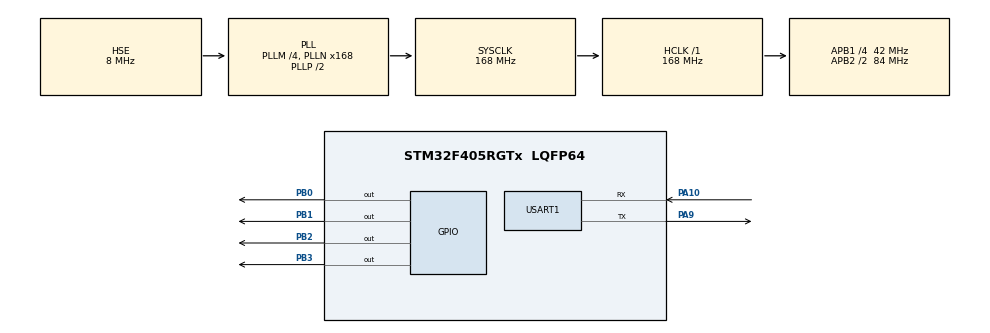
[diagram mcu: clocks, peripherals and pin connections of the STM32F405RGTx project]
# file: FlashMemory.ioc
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Mcu.Family=STM32F4
Mcu.Name=STM32F405RGTx
Mcu.Package=LQFP64
NVIC.PriorityGroup=NVIC_PRIORITYGROUP_4
PA10.GPIO_PuPd=GPIO_PULLUP
PA10.Mode=Asynchronous
PA10.Signal=USART1_RX
PA13.Mode=Serial_Wire
PA13.Signal=SYS_JTMS-SWDIO
PA14.Mode=Serial_Wire
PA14.Signal=SYS_JTCK-SWCLK
PA9.GPIO_PuPd=GPIO_PULLUP
PA9.Mode=Asynchronous
PA9.Signal=USART1_TX
PB0.GPIO_PuPd=GPIO_PULLUP
PB0.Signal=GPIO_Output
PB1.GPIO_PuPd=GPIO_PULLUP
PB1.Signal=GPIO_Output
PB2.GPIO_PuPd=GPIO_PULLUP
PB2.Signal=GPIO_Output
PB3.GPIO_PuPd=GPIO_PULLUP
PB3.Signal=GPIO_Output
PH0-OSC_IN.Mode=HSE-External-Oscillator
PH0-OSC_IN.Signal=RCC_OSC_IN
PH1-OSC_OUT.Mode=HSE-External-Oscillator
PH1-OSC_OUT.Signal=RCC_OSC_OUT
ProjectManager.HeapSize=0x200
ProjectManager.StackSize=0x400
ProjectManager.TargetToolchain=STM32CubeIDE
RCC.48MHZClocksFreq_Value=84000000
RCC.AHBFreq_Value=168000000
RCC.APB1CLKDivider=RCC_HCLK_DIV4
RCC.APB1Freq_Value=42000000
RCC.APB1TimFreq_Value=84000000
RCC.APB2CLKDivider=RCC_HCLK_DIV2
RCC.APB2Freq_Value=84000000
RCC.APB2TimFreq_Value=168000000
RCC.CortexFreq_Value=168000000
RCC.HCLKFreq_Value=168000000
RCC.HSE_VALUE=8000000
RCC.HSI_VALUE=16000000
RCC.LSE_VALUE=32768
RCC.PLLM=4
RCC.PLLN=168
RCC.PLLSourceVirtual=RCC_PLLSOURCE_HSE
RCC.SYSCLKFreq_VALUE=168000000
RCC.SYSCLKSource=RCC_SYSCLKSOURCE_PLLCLK
RCC.VCOOutputFreq_Value=336000000
USART1.VirtualMode=VM_ASYNC
board=custom

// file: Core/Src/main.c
/* USER CODE BEGIN Header */
/**
  ******************************************************************************
  * @file           : main.c
  * @brief          : Main program body
  ******************************************************************************
  * @attention
  *
  * Copyright (c) 2022 STMicroelectronics.
  * All rights reserved.
  *
  * This software is licensed under terms that can be found in the LICENSE file
  * in the root directory of this software component.
  * If no LICENSE file comes with this software, it is provided AS-IS.
  *
  ******************************************************************************
  */
/* USER CODE END Header */
#include "main.h"

/* USER CODE BEGIN Includes */
#include "stdio.h"
#include "string.h"
#include "stdbool.h"
#include <FLASH_SECTOR_F4.h>
/* USER CODE END Includes */

/* USER CODE BEGIN PD */
#define START_ADDR 0x080E0000
// FLASH_SECTOR_11 (Address < 0x080FFFFF) && (Address >= 0x080E0000)
/* USER CODE END PD */

UART_HandleTypeDef huart1;

void SystemClock_Config(void);
static void MX_GPIO_Init(void);
static void MX_USART1_UART_Init(void);
/* USER CODE BEGIN PFP */
#ifdef __GNUC__
/* With GCC/RAISONANCE, small printf (option LD Linker->Libraries->Small printf
 set to 'Yes') calls __io_putchar() */
#define PUTCHAR_PROTOTYPE int __io_putchar(int ch)
#else
 #define PUTCHAR_PROTOTYPE int fputc(int ch, FILE *f)
#endif /* __GNUC__ */
/* USER CODE END PFP */

int main(void)
{

  /* MCU Configuration--------------------------------------------------------*/

  /* Reset of all peripherals, Initializes the Flash interface and the Systick. */
  HAL_Init();

  /* Configure the system clock */
  SystemClock_Config();

  /* Initialize all configured peripherals */
  MX_GPIO_Init();
  MX_USART1_UART_Init();
  /* USER CODE BEGIN 2 */
  char *data = "Hello, We are access Flash Memory in the course CE437";
  int numofwords = (strlen(data)/4) + ((strlen(data)%4)!=0);

  uint32_t Rx_Data[30];
  uint32_t CURRENT_ADDR;
  char string[100];

  /* USER CODE END 2 */

  /* Infinite loop */
  while (1)
  {

    /* USER CODE BEGIN 3 */

	  // current address (FLASH_SECTOR_11) to write
	  CURRENT_ADDR = START_ADDR;

	  printf("Begin to write into the flash memory\r\n");
	  HAL_GPIO_WritePin(GPIOB, GPIO_PIN_0, GPIO_PIN_SET);
	  // write 100 times
	  for(int count=0;count<2; count++)
	  {
		  printf("Write at address %08lx in line of %d\r\n", CURRENT_ADDR, count+1);
		  HAL_GPIO_WritePin(GPIOB, GPIO_PIN_1, GPIO_PIN_SET);

		  Flash_Write_Data(CURRENT_ADDR, (uint32_t *)data, numofwords);
		  CURRENT_ADDR = CURRENT_ADDR + (numofwords*4);

		  HAL_GPIO_WritePin(GPIOB, GPIO_PIN_1, GPIO_PIN_RESET);
		  HAL_Delay(100);
	  }
	  printf("Finish writing!\r\n");
	  HAL_GPIO_WritePin(GPIOB, GPIO_PIN_0, GPIO_PIN_RESET);

	  CURRENT_ADDR = START_ADDR;

	  printf("Begin to read from the flash memory and show on console\r\n");
	  HAL_GPIO_WritePin(GPIOB, GPIO_PIN_3, GPIO_PIN_SET);
	  // read data and check
	  for(int count=0;count<2; count++)
	  {
		  HAL_GPIO_WritePin(GPIOB, GPIO_PIN_2, GPIO_PIN_SET);

		  Flash_Read_Data(CURRENT_ADDR, Rx_Data, numofwords);
		  Convert_To_Str(Rx_Data, string);

		  printf("--> [%d] Read data at %08lx: %s\r\n", count+1, CURRENT_ADDR, string);
		  CURRENT_ADDR = CURRENT_ADDR + (numofwords*4);

		  HAL_GPIO_WritePin(GPIOB, GPIO_PIN_2, GPIO_PIN_RESET);
		  HAL_Delay(100);
	  }
	  HAL_GPIO_WritePin(GPIOB, GPIO_PIN_3, GPIO_PIN_RESET);

	  printf("Finish reading!\r\n");
	  HAL_Delay(1000);

  }
  /* USER CODE END 3 */
}

void SystemClock_Config(void)
{
  RCC_OscInitTypeDef RCC_OscInitStruct = {0};
  RCC_ClkInitTypeDef RCC_ClkInitStruct = {0};

  /** Configure the main internal regulator output voltage
  */
  __HAL_RCC_PWR_CLK_ENABLE();
  __HAL_PWR_VOLTAGESCALING_CONFIG(PWR_REGULATOR_VOLTAGE_SCALE1);

  /** Initializes the RCC Oscillators according to the specified parameters
  * in the RCC_OscInitTypeDef structure.
  */
  RCC_OscInitStruct.OscillatorType = RCC_OSCILLATORTYPE_HSE;
  RCC_OscInitStruct.HSEState = RCC_HSE_ON;
  RCC_OscInitStruct.PLL.PLLState = RCC_PLL_ON;
  RCC_OscInitStruct.PLL.PLLSource = RCC_PLLSOURCE_HSE;
  RCC_OscInitStruct.PLL.PLLM = 4;
  RCC_OscInitStruct.PLL.PLLN = 168;
  RCC_OscInitStruct.PLL.PLLP = RCC_PLLP_DIV2;
  RCC_OscInitStruct.PLL.PLLQ = 4;
  if (HAL_RCC_OscConfig(&RCC_OscInitStruct) != HAL_OK)
  {
    Error_Handler();
  }

  /** Initializes the CPU, AHB and APB buses clocks
  */
  RCC_ClkInitStruct.ClockType = RCC_CLOCKTYPE_HCLK|RCC_CLOCKTYPE_SYSCLK
                              |RCC_CLOCKTYPE_PCLK1|RCC_CLOCKTYPE_PCLK2;
  RCC_ClkInitStruct.SYSCLKSource = RCC_SYSCLKSOURCE_PLLCLK;
  RCC_ClkInitStruct.AHBCLKDivider = RCC_SYSCLK_DIV1;
  RCC_ClkInitStruct.APB1CLKDivider = RCC_HCLK_DIV4;
  RCC_ClkInitStruct.APB2CLKDivider = RCC_HCLK_DIV2;

  if (HAL_RCC_ClockConfig(&RCC_ClkInitStruct, FLASH_LATENCY_5) != HAL_OK)
  {
    Error_Handler();
  }
}

static void MX_USART1_UART_Init(void)
{

  huart1.Instance = USART1;
  huart1.Init.BaudRate = 115200;
  huart1.Init.WordLength = UART_WORDLENGTH_8B;
  huart1.Init.StopBits = UART_STOPBITS_1;
  huart1.Init.Parity = UART_PARITY_NONE;
  huart1.Init.Mode = UART_MODE_TX_RX;
  huart1.Init.HwFlowCtl = UART_HWCONTROL_NONE;
  huart1.Init.OverSampling = UART_OVERSAMPLING_16;
  if (HAL_UART_Init(&huart1) != HAL_OK)
  {
    Error_Handler();
  }

}

static void MX_GPIO_Init(void)
{
  GPIO_InitTypeDef GPIO_InitStruct = {0};

  /* GPIO Ports Clock Enable */
  __HAL_RCC_GPIOH_CLK_ENABLE();
  __HAL_RCC_GPIOB_CLK_ENABLE();
  __HAL_RCC_GPIOA_CLK_ENABLE();

  /*Configure GPIO pin Output Level */
  HAL_GPIO_WritePin(GPIOB, GPIO_PIN_0|GPIO_PIN_1|GPIO_PIN_2|GPIO_PIN_3, GPIO_PIN_RESET);

  /*Configure GPIO pins : PB0 PB1 PB2 PB3 */
  GPIO_InitStruct.Pin = GPIO_PIN_0|GPIO_PIN_1|GPIO_PIN_2|GPIO_PIN_3;
  GPIO_InitStruct.Mode = GPIO_MODE_OUTPUT_PP;
  GPIO_InitStruct.Pull = GPIO_PULLUP;
  GPIO_InitStruct.Speed = GPIO_SPEED_FREQ_LOW;
  HAL_GPIO_Init(GPIOB, &GPIO_InitStruct);

}

/* USER CODE BEGIN 4 */
/**
 * @brief Retargets the C library printf function to the USART.
 * @param None
 * @retval None
 */
PUTCHAR_PROTOTYPE
{
  /* Place your implementation of fputc here */
  /* e.g. write a character to the USART */
  HAL_UART_Transmit(&huart1, (uint8_t*) &ch, 1, 100);
  return ch;
}
/* USER CODE END 4 */

void Error_Handler(void)
{
  __disable_irq();
  while (1)
  {
  }
}
